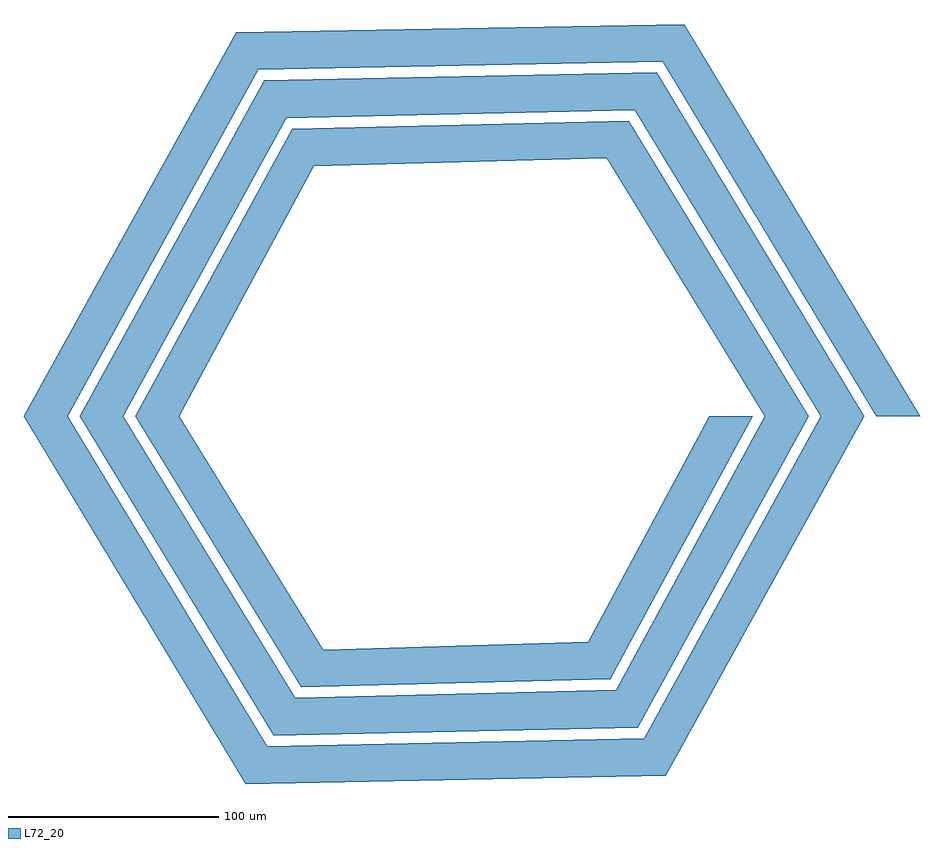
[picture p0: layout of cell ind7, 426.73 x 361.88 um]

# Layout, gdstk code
import gdstk
lib = gdstk.Library(unit=1e-6, precision=1e-09)
def P(c, l, *ps):  # polygons
    for p in ps: c.add(gdstk.Polygon(p, *l))
L72_20 = (72, 20)

ind7 = lib.new_cell('ind7')
P(ind7, L72_20, [(558.57,326.94),(456.75,495.63),(467.14,513.63),(579.36,326.94)],
  [(264.17,491.8),(253.78,509.8),(467.14,513.63),(456.75,495.63)],
  [(152.63,326.94),(253.78,509.8),(264.17,491.8),(173.42,326.94)],
  [(258.21,151.75),(152.63,326.94),(173.42,326.94),(268.6,169.75)],
  [(258.21,151.75),(268.6,169.75),(447.9,173.58),(458.29,155.58)],
  [(458.29,155.58),(447.9,173.58),(532.01,326.94),(552.8,326.94)],
  [(532.01,326.94),(443.47,472.63),(453.86,490.63),(552.8,326.94)],
  [(277.45,468.8),(267.06,486.8),(453.86,490.63),(443.47,472.63)],
  [(179.19,326.94),(267.06,486.8),(277.45,468.8),(199.98,326.94)],
  [(271.49,174.75),(179.19,326.94),(199.98,326.94),(281.88,192.75)],
  [(271.49,174.75),(281.88,192.75),(434.62,196.58),(445.01,178.58)],
  [(445.01,178.58),(434.62,196.58),(505.45,326.94),(526.24,326.94)],
  [(505.45,326.94),(430.19,449.63),(440.58,467.63),(526.24,326.94)],
  [(290.73,445.8),(280.34,463.8),(440.58,467.63),(430.19,449.63)],
  [(205.75,326.94),(280.34,463.8),(290.73,445.8),(226.54,326.94)],
  [(284.77,197.75),(205.75,326.94),(226.54,326.94),(295.16,215.75)],
  [(284.77,197.75),(295.16,215.75),(421.34,219.58),(431.73,201.58)],
  [(431.73,201.58),(421.34,219.58),(478.9,326.94),(499.68,326.94)])

lib.write_gds('ind7.gds')
